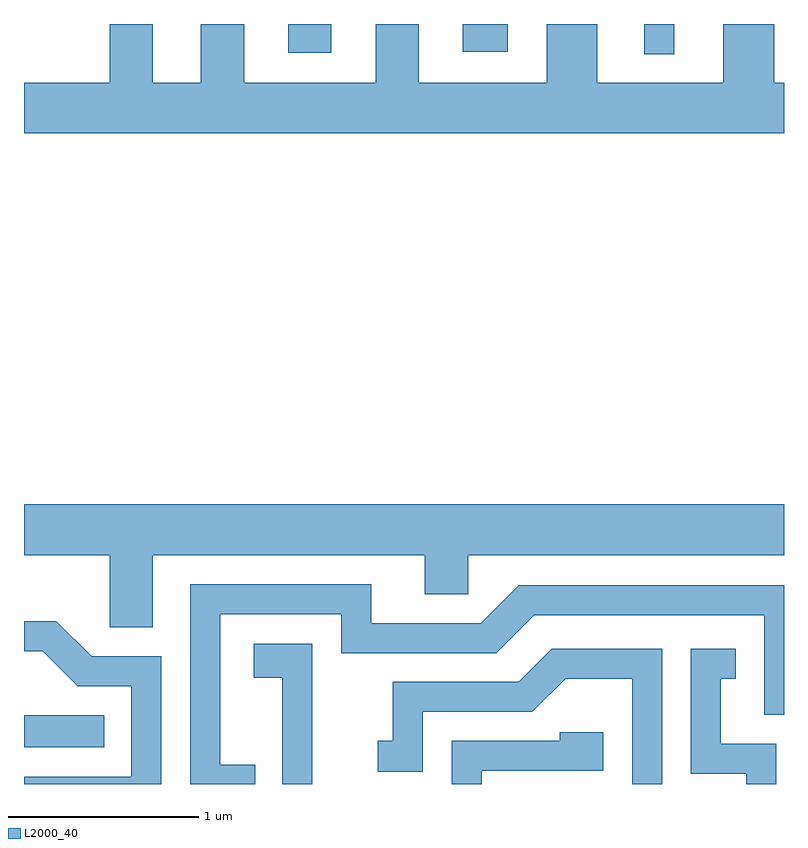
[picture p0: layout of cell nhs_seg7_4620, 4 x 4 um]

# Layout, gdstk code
import gdstk
lib = gdstk.Library(unit=1e-6, precision=1e-09)
def R(c, l, rs):  # rectangles x0, y0, x1, y1
    for r in rs: c.add(gdstk.rectangle(r[:2], r[2:], *l))
def P(c, l, *ps):  # polygons
    for p in ps: c.add(gdstk.Polygon(p, *l))
L2000_40 = (2000, 40)

nhs_seg7_4620 = lib.new_cell('nhs_seg7_4620')
R(nhs_seg7_4620, L2000_40, [(327.611,1684.446,328.033,1684.614), (330.876,1688.093,331.034,1688.252), (329.001,1688.101,329.229,1688.252), (329.921,1688.106,330.158,1688.252)])
P(nhs_seg7_4620, L2000_40, [(331.611,1687.944),(331.559,1687.944),(331.559,1688.252),(331.291,1688.252),(331.291,1687.944),(330.629,1687.944),(330.629,1688.252),(330.361,1688.252),(330.361,1687.944),(329.689,1687.944),(329.689,1688.252),(329.461,1688.252),(329.461,1687.944),(328.769,1687.944),(328.769,1688.252),(328.541,1688.252),(328.541,1687.944),(328.289,1687.944),(328.289,1688.252),(328.061,1688.252),(328.061,1687.944),(327.611,1687.944),(327.611,1687.676),(331.611,1687.676)],
  [(328.289,1685.456),(329.721,1685.456),(329.721,1685.251),(329.949,1685.251),(329.949,1685.456),(331.611,1685.456),(331.611,1685.724),(327.611,1685.724),(327.611,1685.456),(328.061,1685.456),(328.061,1685.076),(328.289,1685.076)],
  [(328.828,1684.354),(328.644,1684.354),(328.644,1685.146),(329.281,1685.146),(329.281,1684.941),(330.097,1684.941),(330.297,1685.141),(331.506,1685.141),(331.506,1684.616),(331.611,1684.616),(331.611,1685.299),(330.214,1685.299),(330.014,1685.099),(329.439,1685.099),(329.439,1685.304),(328.486,1685.304),(328.486,1684.252),(328.828,1684.252)],
  [(328.334,1684.924),(327.967,1684.924),(327.782,1685.109),(327.611,1685.109),(327.611,1684.951),(327.709,1684.951),(327.894,1684.766),(328.176,1684.766),(328.176,1684.289),(327.611,1684.289),(327.611,1684.252),(328.334,1684.252)],
  [(329.129,1684.989),(328.821,1684.989),(328.821,1684.811),(328.971,1684.811),(328.971,1684.252),(329.129,1684.252)],
  [(331.569,1684.464),(331.279,1684.464),(331.279,1684.806),(331.358,1684.806),(331.358,1684.964),(331.121,1684.964),(331.121,1684.306),(331.411,1684.306),(331.411,1684.252),(331.569,1684.252)],
  [(330.969,1684.964),(330.389,1684.964),(330.214,1684.789),(329.551,1684.789),(329.551,1684.479),(329.473,1684.479),(329.473,1684.316),(329.709,1684.316),(329.709,1684.631),(330.287,1684.631),(330.462,1684.806),(330.811,1684.806),(330.811,1684.252),(330.969,1684.252)],
  [(330.019,1684.321),(330.659,1684.321),(330.659,1684.524),(330.431,1684.524),(330.431,1684.479),(329.861,1684.479),(329.861,1684.252),(330.019,1684.252)])

lib.write_gds('nhs_seg7_4620.gds')
